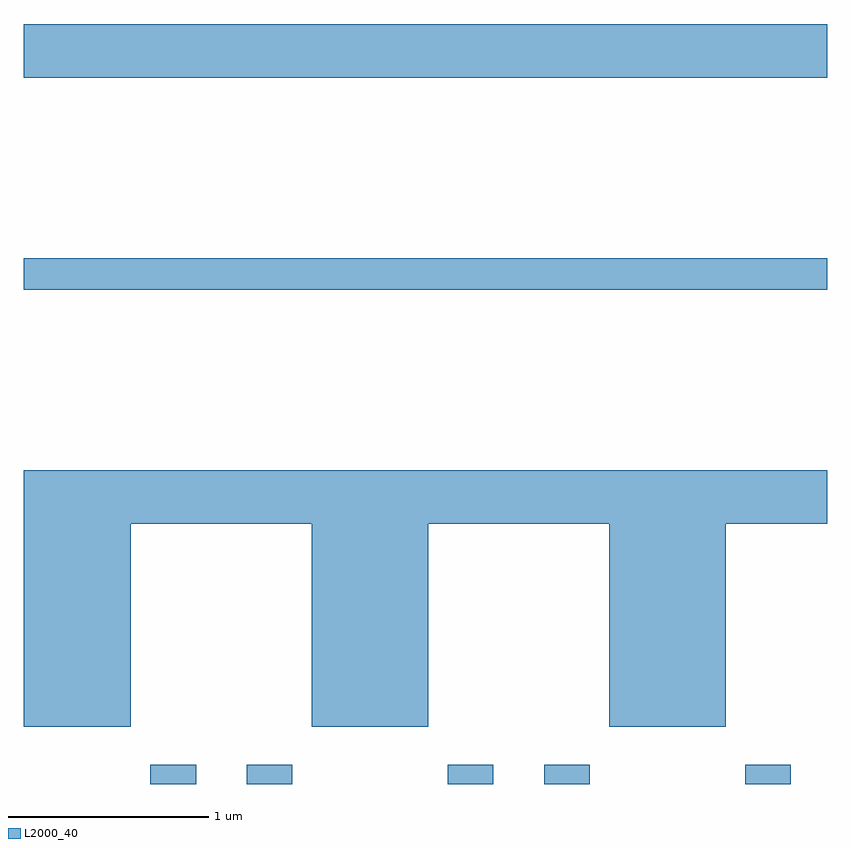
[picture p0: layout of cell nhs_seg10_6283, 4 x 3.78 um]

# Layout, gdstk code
import gdstk
lib = gdstk.Library(unit=1e-6, precision=1e-09)
def R(c, l, rs):  # rectangles x0, y0, x1, y1
    for r in rs: c.add(gdstk.rectangle(r[:2], r[2:], *l))
def P(c, l, *ps):  # polygons
    for p in ps: c.add(gdstk.Polygon(p, *l))
L2000_40 = (2000, 40)

nhs_seg10_6283 = lib.new_cell('nhs_seg10_6283')
R(nhs_seg10_6283, L2000_40, [(370.241,2212.522,370.469,2212.619), (370.721,2212.522,370.949,2212.619), (371.721,2212.522,371.949,2212.619), (372.201,2212.522,372.429,2212.619), (373.201,2212.522,373.429,2212.619), (369.611,2214.981,373.611,2215.139), (369.611,2216.036,373.611,2216.304)])
P(nhs_seg10_6283, L2000_40, [(370.144,2213.816),(371.046,2213.816),(371.046,2212.806),(371.624,2212.806),(371.624,2213.816),(372.526,2213.816),(372.526,2212.806),(373.104,2212.806),(373.104,2213.816),(373.611,2213.816),(373.611,2214.084),(369.611,2214.084),(369.611,2212.806),(370.144,2212.806)])

lib.write_gds('nhs_seg10_6283.gds')
